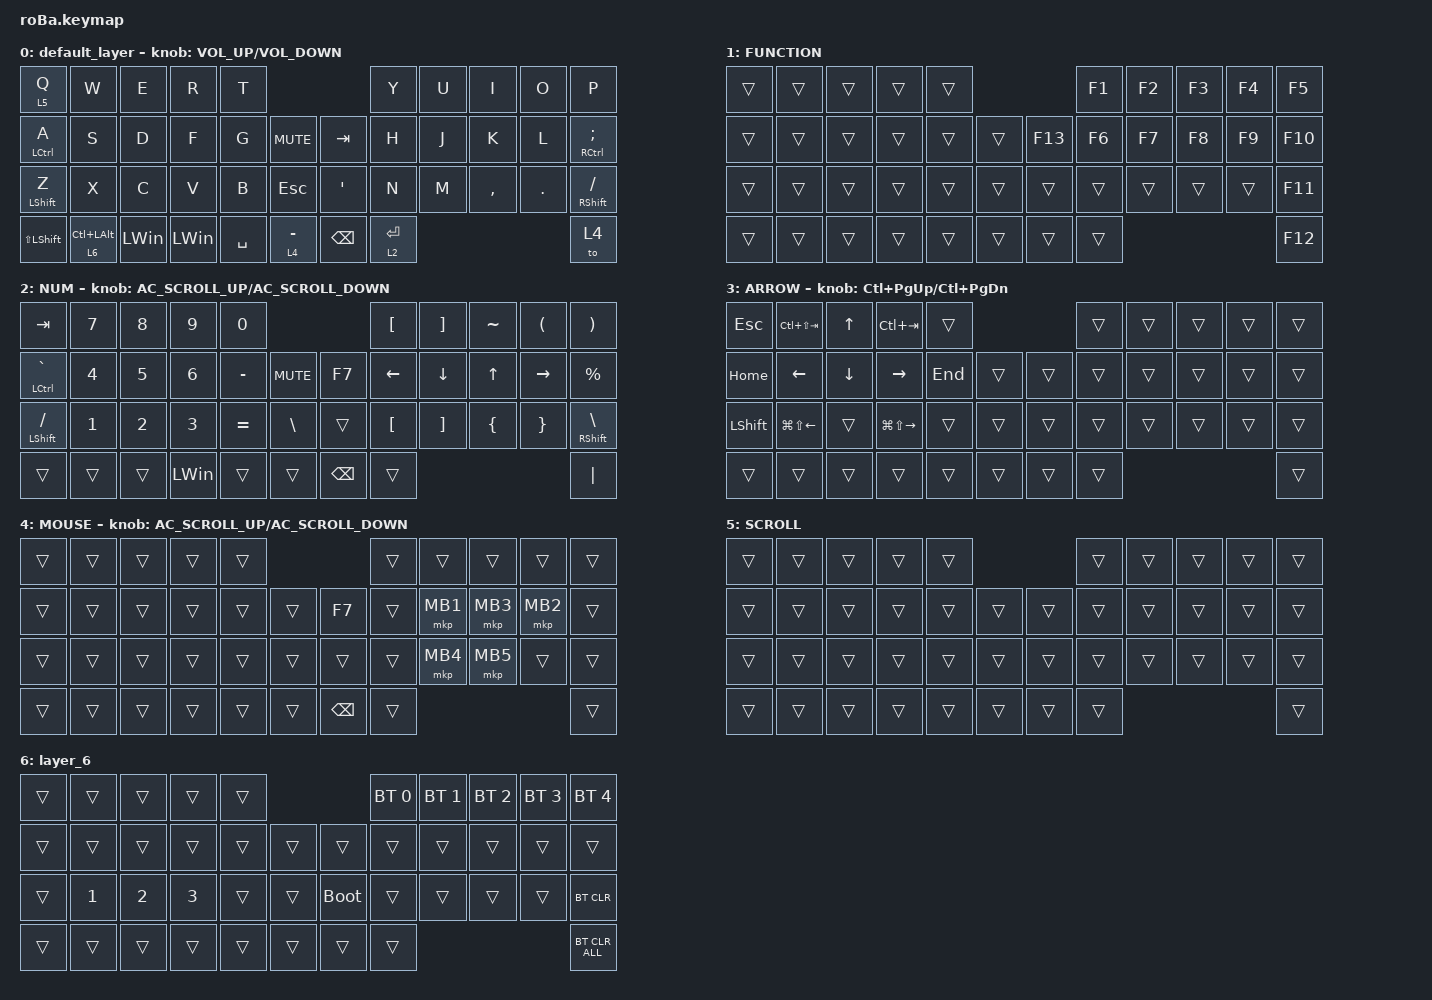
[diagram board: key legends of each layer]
#include <behaviors.dtsi>
#include <dt-bindings/zmk/bt.h>
#include <dt-bindings/zmk/keys.h>
#include <dt-bindings/zmk/pointing.h>

&mt {
    flavor = "balanced";
    tapping-term-ms = <170>;
};

&trackball {
    automouse-layer = <4>;
    scroll-layers = <5>;

    // arrows {
    //     layers = <3>;
    //     bindings =
    //         <&kp RIGHT_ARROW>,
    //         <&kp LEFT_ARROW>,
    //         <&kp UP_ARROW>,
    //         <&kp DOWN_ARROW>;
    //     tick = <10>;
    //     wait-ms = <5>;
    //     tap-ms = <5>;
    // };
};

/ {
    combos {
        compatible = "zmk,combos";

        left_click {
            bindings = <&mkp LCLK>;
            key-positions = <18 19>;
        };

        right_click {
            bindings = <&mkp RCLK>;
            key-positions = <19 20>;
        };
    };

    macros {
        to_layer_0: to_layer_0 {
            compatible = "zmk,behavior-macro-one-param";
            #binding-cells = <1>;
            bindings = <&to 0 &macro_param_1to1 &kp MACRO_PLACEHOLDER>;
            label = "TO_LAYER_0";
        };
    };

    behaviors {
        lt_to_layer_0: lt_to_layer_0 {
            compatible = "zmk,behavior-hold-tap";
            label = "LAYER_TAP_TO_0";
            bindings = <&mo>, <&to_layer_0>;

            #binding-cells = <2>;
            tapping-term-ms = <170>;
        };
    };

    keymap {
        compatible = "zmk,keymap";

        default_layer {
            bindings = <
&lt 5 Q             &kp W               &kp E         &kp R         &kp T                                         &kp Y        &kp U  &kp I      &kp O    &kp P
&mt LEFT_CONTROL A  &kp S               &kp D         &kp F         &kp G      &kp C_MUTE       &kp TAB           &kp H        &kp J  &kp K      &kp L    &mt RIGHT_CONTROL SEMICOLON
&mt LEFT_SHIFT Z    &kp X               &kp C         &kp V         &kp B      &kp ESCAPE       &kp SINGLE_QUOTE  &kp N        &kp M  &kp COMMA  &kp DOT  &mt RIGHT_SHIFT SLASH
&kp LS(LEFT_SHIFT)  &lt 6 LC(LEFT_ALT)  &kp LEFT_WIN  &kp LEFT_WIN  &kp SPACE  &lt 4 MINUS      &kp BACKSPACE     &lt 2 ENTER                             &to 4
            >;

            sensor-bindings = <&inc_dec_kp C_VOLUME_UP C_VOLUME_DOWN>;
        };

        FUNCTION {
            bindings = <
&trans  &trans  &trans  &trans  &trans                       &kp F1  &kp F2  &kp F3  &kp F4  &kp F5
&trans  &trans  &trans  &trans  &trans  &trans      &kp F13  &kp F6  &kp F7  &kp F8  &kp F9  &kp F10
&trans  &trans  &trans  &trans  &trans  &trans      &trans   &trans  &trans  &trans  &trans  &kp F11
&trans  &trans  &trans  &trans  &trans  &trans      &trans   &trans                          &kp F12
            >;
        };

        NUM {
            bindings = <
&kp TAB                 &kp N7  &kp N8  &kp N9        &kp NUMBER_0                                    &kp LEFT_BRACKET  &kp RIGHT_BRACKET  &kp TILDE       &kp LEFT_PARENTHESIS  &kp RIGHT_PARENTHESIS
&mt LEFT_CONTROL GRAVE  &kp N4  &kp N5  &kp NUMBER_6  &kp MINUS     &kp K_MUTE         &kp F7         &kp LEFT_ARROW    &kp DOWN_ARROW     &kp UP_ARROW    &kp RIGHT_ARROW       &kp PERCENT
&mt LEFT_SHIFT SLASH    &kp N1  &kp N2  &kp N3        &kp EQUAL     &kp BACKSLASH      &trans         &kp LEFT_BRACKET  &kp RIGHT_BRACKET  &kp LEFT_BRACE  &kp RIGHT_BRACE       &mt RIGHT_SHIFT BACKSLASH
&trans                  &trans  &trans  &kp LEFT_WIN  &trans        &trans             &kp BACKSPACE  &trans                                                                     &kp PIPE
            >;

            sensor-bindings = <&inc_dec_kp C_AC_SCROLL_UP C_AC_SCROLL_DOWN>;
        };

        ARROW {
            bindings = <
&kp ESCAPE      &kp LC(LS(TAB))         &kp UP_ARROW    &kp LC(TAB)              &trans                       &trans  &trans  &trans  &trans  &trans
&kp HOME        &kp LEFT_ARROW          &kp DOWN_ARROW  &kp RIGHT_ARROW          &kp END  &trans      &trans  &trans  &trans  &trans  &trans  &trans
&kp LEFT_SHIFT  &kp LG(LS(LEFT_ARROW))  &trans          &kp LG(LS(RIGHT_ARROW))  &trans   &trans      &trans  &trans  &trans  &trans  &trans  &trans
&trans          &trans                  &trans          &trans                   &trans   &trans      &trans  &trans                          &trans
            >;

            sensor-bindings = <&inc_dec_kp LC(PAGE_UP) LC(PAGE_DOWN)>;
        };

        MOUSE {
            bindings = <
&trans  &trans  &trans  &trans  &trans                             &trans  &trans    &trans    &trans    &trans
&trans  &trans  &trans  &trans  &trans  &trans      &kp F7         &trans  &mkp MB1  &mkp MB3  &mkp MB2  &trans
&trans  &trans  &trans  &trans  &trans  &trans      &trans         &trans  &mkp MB4  &mkp MB5  &trans    &trans
&trans  &trans  &trans  &trans  &trans  &trans      &kp BACKSPACE  &trans                                &trans
            >;

            sensor-bindings = <&inc_dec_kp C_AC_SCROLL_UP C_AC_SCROLL_DOWN>;
        };

        SCROLL {
            bindings = <
&trans  &trans  &trans  &trans  &trans                      &trans  &trans  &trans  &trans  &trans
&trans  &trans  &trans  &trans  &trans  &trans      &trans  &trans  &trans  &trans  &trans  &trans
&trans  &trans  &trans  &trans  &trans  &trans      &trans  &trans  &trans  &trans  &trans  &trans
&trans  &trans  &trans  &trans  &trans  &trans      &trans  &trans                          &trans
            >;
        };

        layer_6 {
            bindings = <
&trans  &trans        &trans        &trans        &trans                           &bt BT_SEL 0  &bt BT_SEL 1  &bt BT_SEL 2  &bt BT_SEL 3  &bt BT_SEL 4
&trans  &trans        &trans        &trans        &trans  &trans      &trans       &trans        &trans        &trans        &trans        &trans
&trans  &kp NUMBER_1  &kp NUMBER_2  &kp NUMBER_3  &trans  &trans      &bootloader  &trans        &trans        &trans        &trans        &bt BT_CLR
&trans  &trans        &trans        &trans        &trans  &trans      &trans       &trans                                                  &bt BT_CLR_ALL
            >;
        };
    };
};
